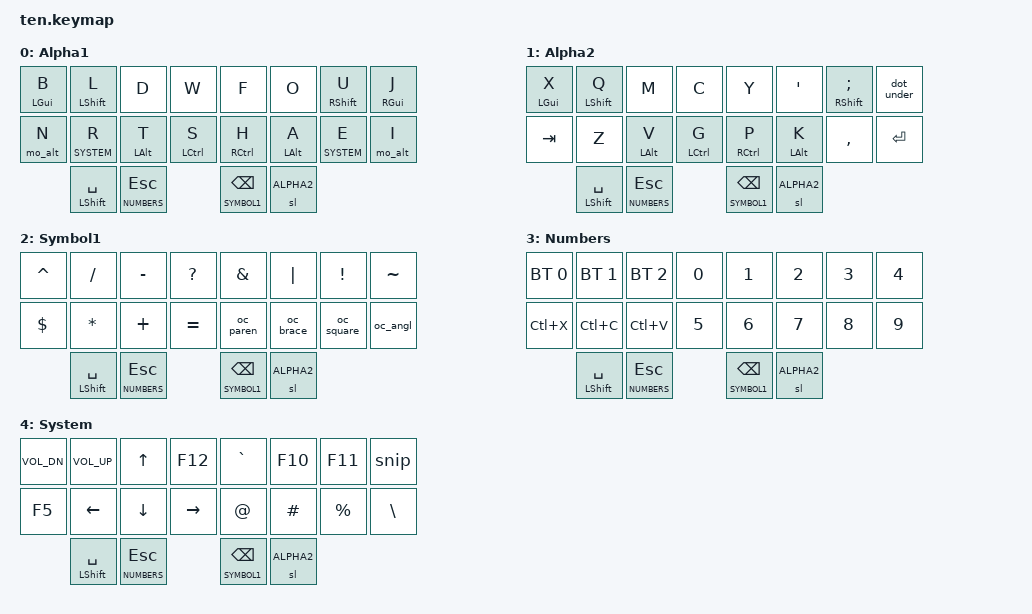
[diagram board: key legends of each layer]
/*
 * Copyright (c) 2020 The ZMK Contributors
 *
 * SPDX-License-Identifier: MIT
 */

#include <behaviors.dtsi>
#include <dt-bindings/zmk/keys.h>
#include <dt-bindings/zmk/bt.h>

/* Layer definitions */
#define ALPHA1  0
#define ALPHA2  1
#define SYMBOL1 2
#define NUMBERS 3
#define SYSTEM  4

/* Behavior configuration */
&mt {
    tapping-term-ms = <200>;
    flavor = "tap-preferred";
    quick-tap-ms = <0>;
};

&lt {
    tapping-term-ms = <200>;
    flavor = "tap-preferred";
    quick-tap-ms = <0>;
};

&sl {
    release-after-ms = <240>;
};

/ {
    /* Custom behaviors */
    behaviors {
        /* DOT_UNDERSCORE: . normally, _ when shifted */
        dot_under: dot_underscore {
            compatible = "zmk,behavior-mod-morph";
            #binding-cells = <0>;
            bindings = <&kp DOT>, <&kp UNDER>;
            mods = <(MOD_LSFT|MOD_RSFT)>;
        };

        /* OC_PAREN: ( normally, ) when shifted */
        oc_paren: open_close_paren {
            compatible = "zmk,behavior-mod-morph";
            #binding-cells = <0>;
            bindings = <&kp LPAR>, <&kp RPAR>;
            mods = <(MOD_LSFT|MOD_RSFT)>;
        };

        /* OC_BRACE: { normally, } when shifted */
        oc_brace: open_close_brace {
            compatible = "zmk,behavior-mod-morph";
            #binding-cells = <0>;
            bindings = <&kp LBRC>, <&kp RBRC>;
            mods = <(MOD_LSFT|MOD_RSFT)>;
        };

        /* OC_SQUARE: [ normally, ] when shifted */
        oc_square: open_close_square {
            compatible = "zmk,behavior-mod-morph";
            #binding-cells = <0>;
            bindings = <&kp LBKT>, <&kp RBKT>;
            mods = <(MOD_LSFT|MOD_RSFT)>;
        };

        /* OC_ANGL: < normally, > when shifted */
        oc_angl: open_close_angle {
            compatible = "zmk,behavior-mod-morph";
            #binding-cells = <0>;
            bindings = <&kp LT>, <&kp GT>;
            mods = <(MOD_LSFT|MOD_RSFT)>;
        };

        /* SFT_NUM_N: N on tap, Layer 3 + ALT on hold (for window manager) */
        sft_num_n: sft_num_n {
            compatible = "zmk,behavior-hold-tap";
            #binding-cells = <2>;
            tapping-term-ms = <200>;
            flavor = "tap-preferred";
            quick-tap-ms = <0>;
            bindings = <&mo_alt>, <&kp>;
        };

        /* SFT_NUM_I: I on tap, Layer 3 + ALT on hold (for window manager) */
        sft_num_i: sft_num_i {
            compatible = "zmk,behavior-hold-tap";
            #binding-cells = <2>;
            tapping-term-ms = <200>;
            flavor = "tap-preferred";
            quick-tap-ms = <0>;
            bindings = <&mo_alt>, <&kp>;
        };

        /* Layer-tap for R/E with Layer 4 */
        lt_r: layer_tap_r {
            compatible = "zmk,behavior-hold-tap";
            #binding-cells = <2>;
            tapping-term-ms = <200>;
            flavor = "tap-preferred";
            quick-tap-ms = <0>;
            bindings = <&mo>, <&kp>;
        };
    };

    /* Macros */
    macros {
        /* SNIP: Win+Shift+S for screenshot */
        snip: snip_macro {
            compatible = "zmk,behavior-macro";
            #binding-cells = <0>;
            bindings = <&kp LG(LS(S))>;
        };

        /* mo_alt: Momentary layer 3 + hold ALT */
        mo_alt: mo_alt_macro {
            compatible = "zmk,behavior-macro";
            #binding-cells = <0>;
            wait-ms = <0>;
            tap-ms = <0>;
            bindings =
                <&macro_press &mo NUMBERS &kp LALT>,
                <&macro_pause_for_release>,
                <&macro_release &mo NUMBERS &kp LALT>;
        };
    };

    /* Combos */
    combos {
        compatible = "zmk,combos";

        /* BT_CLR: Press all three BT keys together (positions 0+1+2) to clear bond */
        combo_bt_clr {
            timeout-ms = <50>;
            key-positions = <0 1 2>;
            bindings = <&bt BT_CLR>;
            layers = <NUMBERS>;
        };
    };

    keymap {
        compatible = "zmk,keymap";

        /* Layer 0: Alpha1 - Main alpha layer */
        alpha1 {
            label = "Alpha1";
            bindings = <
                &mt LGUI B      &mt LSHFT L     &kp D           &kp W               &kp F           &kp O           &mt RSHFT U     &mt RGUI J
                &sft_num_n 0 N  &lt_r SYSTEM R  &mt LALT T      &mt LCTRL S         &mt RCTRL H     &mt LALT A      &lt_r SYSTEM E  &sft_num_i 0 I
                                &mt LSHFT SPACE &lt NUMBERS ESC                     &lt SYMBOL1 BSPC &sl ALPHA2
            >;
        };

        /* Layer 1: Alpha2 - Secondary alpha layer (one-shot) */
        alpha2 {
            label = "Alpha2";
            bindings = <
                &mt LGUI X      &mt LSHFT Q     &kp M           &kp C               &kp Y           &kp APOS        &mt RSHFT SEMI  &dot_under
                &kp TAB         &kp Z           &mt LALT V      &mt LCTRL G         &mt RCTRL P     &mt LALT K      &kp COMMA       &kp ENTER
                                &mt LSHFT SPACE &lt NUMBERS ESC                     &lt SYMBOL1 BSPC &sl ALPHA2
            >;
        };

        /* Layer 2: Symbol1 - Primary symbols */
        symbol1 {
            label = "Symbol1";
            bindings = <
                &kp CARET       &kp FSLH        &kp MINUS       &kp QMARK           &kp AMPS        &kp PIPE        &kp EXCL        &kp TILDE
                &kp DLLR        &kp ASTRK       &kp PLUS        &kp EQUAL           &oc_paren       &oc_brace       &oc_square      &oc_angl
                                &mt LSHFT SPACE &lt NUMBERS ESC                     &lt SYMBOL1 BSPC &sl ALPHA2
            >;
        };

        /* Layer 3: Numbers - Number pad, cut/copy/paste, and Bluetooth */
        numbers {
            label = "Numbers";
            bindings = <
                &bt BT_SEL 0    &bt BT_SEL 1    &bt BT_SEL 2    &kp N0              &kp N1          &kp N2          &kp N3          &kp N4
                &kp LC(X)       &kp LC(C)       &kp LC(V)       &kp N5              &kp N6          &kp N7          &kp N8          &kp N9
                                &mt LSHFT SPACE &lt NUMBERS ESC                     &lt SYMBOL1 BSPC &sl ALPHA2
            >;
        };

        /* Layer 4: System - Function keys, arrows, volume, extra symbols */
        system {
            label = "System";
            bindings = <
                &kp C_VOL_DN    &kp C_VOL_UP    &kp UP          &kp F12             &kp GRAVE       &kp F10         &kp F11         &snip
                &kp F5          &kp LEFT        &kp DOWN        &kp RIGHT           &kp AT          &kp HASH        &kp PRCNT       &kp BSLH
                                &mt LSHFT SPACE &lt NUMBERS ESC                     &lt SYMBOL1 BSPC &sl ALPHA2
            >;
        };
    };
};
